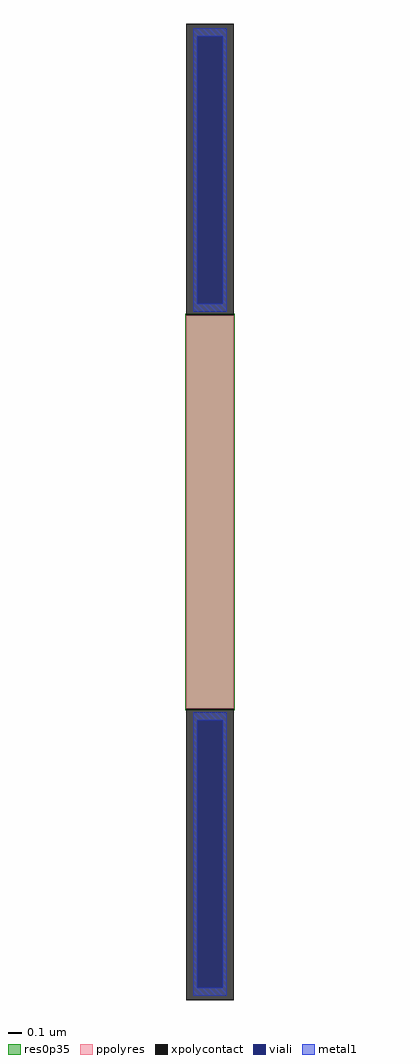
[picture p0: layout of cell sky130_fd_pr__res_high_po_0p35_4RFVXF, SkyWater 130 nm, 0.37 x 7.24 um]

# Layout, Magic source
magic
tech sky130A
magscale 1 2
<< xpolycontact >>
rect -35 292 35 724
rect -35 -724 35 -292
<< ppolyres >>
rect -35 -292 35 292
<< viali >>
rect -19 309 19 706
rect -19 -706 19 -309
<< metal1 >>
rect -25 706 25 718
rect -25 309 -19 706
rect 19 309 25 706
rect -25 297 25 309
rect -25 -309 25 -297
rect -25 -706 -19 -309
rect 19 -706 25 -309
rect -25 -718 25 -706
<< res0p35 >>
rect -37 -294 37 294
<< properties >>
string gencell sky130_fd_pr__res_high_po_0p35
string parameters w 0.350 l 2.92 m 1 nx 1 wmin 0.350 lmin 0.50 rho 319.8 val 2.777k dummy 0 dw 0.0 term 19.188 sterm 0.0 caplen 0 guard 0 glc 0 grc 0 gtc 0 gbc 0 compatible {sky130_fd_pr__res_high_po_0p35  sky130_fd_pr__res_high_po_0p69 sky130_fd_pr__res_high_po_1p41  sky130_fd_pr__res_high_po_2p85 sky130_fd_pr__res_high_po_5p73} full_metal 0 wmax 0.350 vias 1 viagb 0 viagt 0 viagl 0 viagr 0
string library sky130
<< end >>
